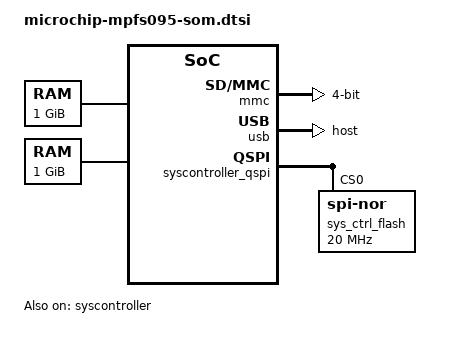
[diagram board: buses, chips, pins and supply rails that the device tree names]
// SPDX-License-Identifier: (GPL-2.0 OR MIT)
/* Copyright (c) 2025-2026 Microchip Technology Inc */

/ {
	compatible = "microchip,mpfs095-som", "microchip,mpfs";

	ddrc_cache_lo: memory@80000000 {
		device_type = "memory";
		reg = <0x0 0x80000000 0x0 0x40000000>;
	};

	ddrc_cache_hi: memory@1040000000 {
		device_type = "memory";
		reg = <0x10 0x40000000 0x0 0x40000000>;
	};

	reserved-memory {
		#address-cells = <2>;
		#size-cells = <2>;
		ranges;

		hss_payload: region@bfc00000 {
			reg = <0x0 0xbfc00000 0x0 0x400000>;
			no-map;
		};
	};
};

&refclk {
	clock-frequency = <125000000>;
};

&mmc {
	bus-width = <4>;
	disable-wp;
	cap-sd-highspeed;
	cap-mmc-highspeed;
	mmc-ddr-1_8v;
	mmc-hs200-1_8v;
	sd-uhs-sdr12;
	sd-uhs-sdr25;
	sd-uhs-sdr50;
	sd-uhs-sdr104;
	status = "okay";
};

&syscontroller {
	status = "okay";
};

&usb {
	status = "okay";
	dr_mode = "host";
};

&mbox {
	status = "okay";
};

&syscontroller_qspi {
	status = "okay";

	sys_ctrl_flash: flash@0 {
		compatible = "jedec,spi-nor";
		#address-cells = <1>;
		#size-cells = <1>;
		spi-max-frequency = <20000000>;
		spi-rx-bus-width = <1>;
		reg = <0>;
	};
};

